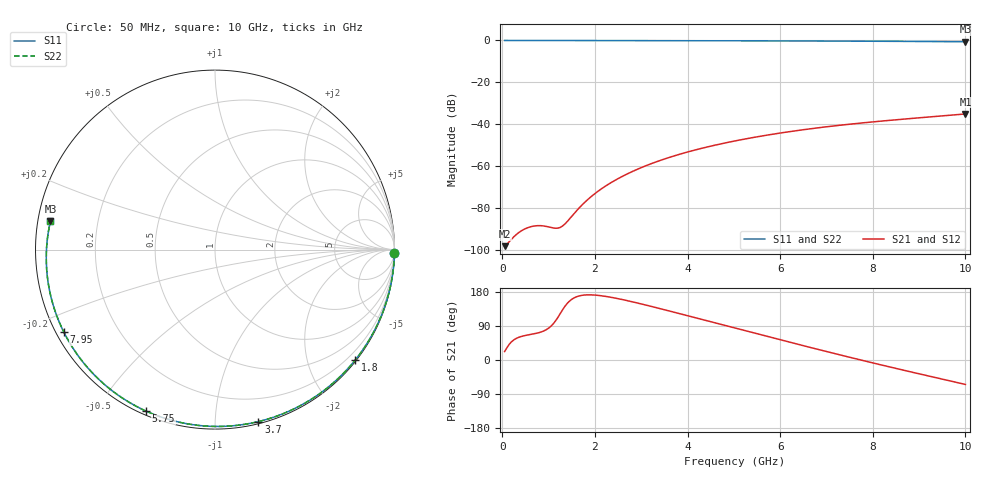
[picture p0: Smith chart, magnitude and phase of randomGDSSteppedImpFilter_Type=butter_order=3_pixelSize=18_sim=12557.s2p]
! freq	dB(S11)	phase(S11)	dB(S12)	phase(S12)
!  dB(S21)	phase(S21)	dB(S22)	phase(S22)
!S-par simulation data
#  GHz  S  DB  R 50
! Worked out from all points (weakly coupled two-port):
!   200 points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, 50 MHz to 10 GHz, reference 50 ohm
!   highest |S21| = -35.00 dB at 10 GHz (marker M1); lowest = -98.0 dB at 50 MHz (marker M2)
!   lowest |S11| = -0.6 dB at 10 GHz (marker M3), VSWR 27.74, Z = 1.82 + j4.24 ohm
!   |S11| at or under -10 dB: nowhere
!   |S22| runs from -0.6 to 0.0 dB; largest |S21 - S12| = 0
!   S11 on the Smith chart (normalised r, x): 50 MHz: open; 1.8 GHz: 0.03, -2.89; 3.7 GHz: 0.02, -1.28; 5.75 GHz: 0.02, -0.66; 7.95 GHz: 0.02, -0.26; 10 GHz: 0.04, +0.08
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0.05  -0.00 -1.1  -97.96 22.2  -97.96 22.2  -0.00 -1.1
0.4  -0.01 -8.6  -90.82 61.8  -90.82 61.8  -0.01 -8.6
0.8  -0.02 -17.2  -88.19 72.5  -88.19 72.5  -0.02 -17.2
1.2  -0.03 -25.6  -89.38 112.3  -89.38 112.3  -0.03 -25.6
1.65  -0.04 -35.0  -79.97 168.7  -79.97 168.7  -0.04 -35.0
1.75  -0.05 -37.1  -77.72 171.1  -77.72 171.1  -0.05 -37.1
1.8  -0.05 -38.1  -76.67 171.7  -76.67 171.7  -0.05 -38.1
2.1  -0.06 -44.3  -71.29 170.1  -71.29 170.1  -0.06 -44.3
2.3  -0.06 -48.3  -68.36 166.5  -68.36 166.5  -0.06 -48.3
2.5  -0.07 -52.4  -65.80 161.9  -65.80 161.9  -0.07 -52.4
2.9  -0.08 -60.3  -61.50 151.0  -61.50 151.0  -0.08 -60.3
3.4  -0.09 -70.1  -57.21 135.8  -57.21 135.8  -0.09 -70.1
3.7  -0.10 -75.8  -55.05 126.4  -55.05 126.4  -0.10 -75.8
4.35  -0.13 -88.0  -51.12 105.7  -51.12 105.7  -0.13 -88.0
5.05  -0.15 -100.7  -47.73 83.3  -47.73 83.3  -0.15 -100.7
5.75  -0.19 -113.1  -44.96 61.2  -44.96 61.2  -0.19 -113.1
6.7  -0.25 -129.6  -41.93 31.6  -41.93 31.6  -0.25 -129.6
7.35  -0.30 -140.9  -40.24 11.7  -40.24 11.7  -0.30 -140.9
7.95  -0.36 -151.3  -38.88 -6.2  -38.88 -6.2  -0.36 -151.3
8.35  -0.40 -158.4  -38.07 -17.9  -38.07 -17.9  -0.40 -158.4
9.2  -0.50 -174.0  -36.47 -42.1  -36.47 -42.1  -0.50 -174.0
10  -0.63 170.3  -35.00 -64.5  -35.00 -64.5  -0.63 170.2
